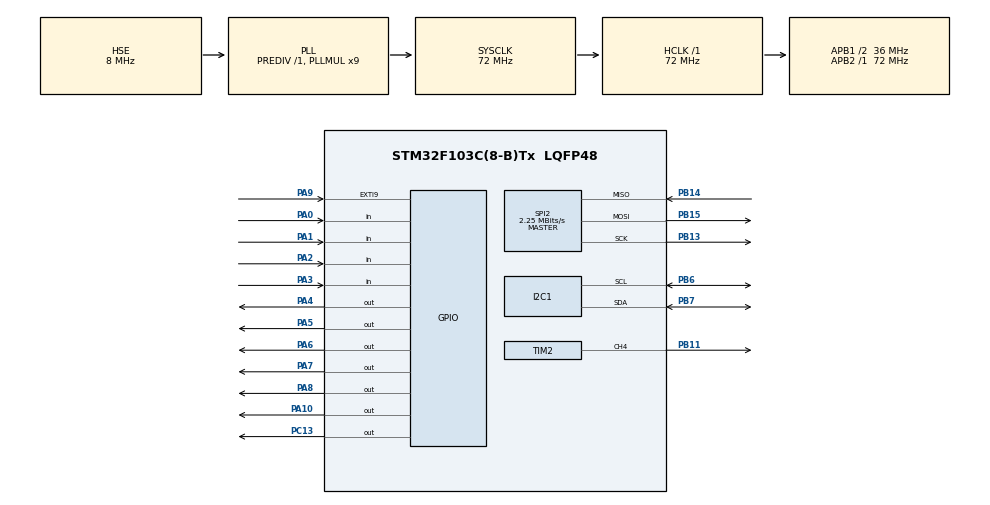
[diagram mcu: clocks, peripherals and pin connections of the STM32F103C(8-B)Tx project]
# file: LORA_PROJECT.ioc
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Dma.I2C1_TX.0.Direction=DMA_MEMORY_TO_PERIPH
Dma.I2C1_TX.0.Instance=DMA1_Channel6
Dma.I2C1_TX.0.MemDataAlignment=DMA_MDATAALIGN_BYTE
Dma.I2C1_TX.0.MemInc=DMA_MINC_ENABLE
Dma.I2C1_TX.0.Mode=DMA_NORMAL
Dma.I2C1_TX.0.PeriphDataAlignment=DMA_PDATAALIGN_BYTE
Dma.I2C1_TX.0.PeriphInc=DMA_PINC_DISABLE
Dma.I2C1_TX.0.Priority=DMA_PRIORITY_LOW
Dma.Request0=I2C1_TX
I2C1.I2C_Mode=I2C_Fast
Mcu.Family=STM32F1
Mcu.Name=STM32F103C(8-B)Tx
Mcu.Package=LQFP48
NVIC.DMA1_Channel6_IRQn=true\:0\:0\:false\:false\:true\:false\:true\:true
NVIC.I2C1_ER_IRQn=true\:0\:0\:false\:false\:true\:true\:true\:true
NVIC.I2C1_EV_IRQn=true\:0\:0\:false\:false\:true\:true\:true\:true
NVIC.PriorityGroup=NVIC_PRIORITYGROUP_4
PA0-WKUP.GPIO_PuPd=GPIO_PULLUP
PA0-WKUP.Signal=GPIO_Input
PA1.GPIO_PuPd=GPIO_PULLUP
PA1.Signal=GPIO_Input
PA10.PinState=GPIO_PIN_SET
PA10.Signal=GPIO_Output
PA2.GPIO_PuPd=GPIO_PULLUP
PA2.Signal=GPIO_Input
PA3.GPIO_PuPd=GPIO_PULLUP
PA3.Signal=GPIO_Input
PA4.Signal=GPIO_Output
PA5.Signal=GPIO_Output
PA6.Signal=GPIO_Output
PA7.Signal=GPIO_Output
PA8.GPIO_PuPd=GPIO_PULLUP
PA8.PinState=GPIO_PIN_SET
PA8.Signal=GPIO_Output
PA9.Signal=GPXTI9
PB11.Signal=S_TIM2_CH4
PB13.Mode=Full_Duplex_Master
PB13.Signal=SPI2_SCK
PB14.Mode=Full_Duplex_Master
PB14.Signal=SPI2_MISO
PB15.Mode=Full_Duplex_Master
PB15.Signal=SPI2_MOSI
PB6.Mode=I2C
PB6.Signal=I2C1_SCL
PB7.Mode=I2C
PB7.Signal=I2C1_SDA
PC13-TAMPER-RTC.Signal=GPIO_Output
PD0-OSC_IN.Mode=HSE-External-Oscillator
PD0-OSC_IN.Signal=RCC_OSC_IN
PD1-OSC_OUT.Mode=HSE-External-Oscillator
PD1-OSC_OUT.Signal=RCC_OSC_OUT
ProjectManager.HeapSize=0x200
ProjectManager.StackSize=0x400
ProjectManager.TargetToolchain=STM32CubeIDE
RCC.AHBFreq_Value=72000000
RCC.APB1CLKDivider=RCC_HCLK_DIV2
RCC.APB1Freq_Value=36000000
RCC.APB1TimFreq_Value=72000000
RCC.APB2Freq_Value=72000000
RCC.APB2TimFreq_Value=72000000
RCC.HCLKFreq_Value=72000000
RCC.PLLMUL=RCC_PLL_MUL9
RCC.PLLSourceVirtual=RCC_PLLSOURCE_HSE
RCC.SYSCLKFreq_VALUE=72000000
RCC.SYSCLKSource=RCC_SYSCLKSOURCE_PLLCLK
RCC.USBFreq_Value=72000000
SH.S_TIM2_CH4.0=TIM2_CH4,PWM Generation4 CH4
SPI2.BaudRatePrescaler=SPI_BAUDRATEPRESCALER_16
SPI2.CalculateBaudRate=2.25 MBits/s
SPI2.Direction=SPI_DIRECTION_2LINES
SPI2.Mode=SPI_MODE_MASTER
SPI2.VirtualType=VM_MASTER
TIM2.Channel-PWM\ Generation4\ CH4=TIM_CHANNEL_4
TIM2.Period=499
TIM2.Prescaler=71
TIM2.Pulse-PWM\ Generation4\ CH4=250
VP_SYS_VS_ND.Mode=No_Debug
VP_TIM2_VS_ClockSourceINT.Mode=Internal
board=custom

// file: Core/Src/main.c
/* USER CODE BEGIN Header */
/**
  ******************************************************************************
  * @file           : main.c
  * @brief          : Main program body
  ******************************************************************************
  * @attention
  *
  * Copyright (c) 2026 STMicroelectronics.
  * All rights reserved.
  *
  * This software is licensed under terms that can be found in the LICENSE file
  * in the root directory of this software component.
  * If no LICENSE file comes with this software, it is provided AS-IS.
  *
  ******************************************************************************
  */
/* USER CODE END Header */
#include "main.h"

/* USER CODE BEGIN Includes */
#include "SSD1306.h"
#include "fonts.h"
#include "KEYPAD.h"
#include "SX1276.h"
#include "app.h"
#include <stdio.h>
#include <string.h>
/* USER CODE END Includes */

I2C_HandleTypeDef hi2c1;
DMA_HandleTypeDef hdma_i2c1_tx;

SPI_HandleTypeDef hspi2;

TIM_HandleTypeDef htim2;

void SystemClock_Config(void);
static void MX_GPIO_Init(void);
static void MX_DMA_Init(void);
static void MX_I2C1_Init(void);
static void MX_SPI2_Init(void);
static void MX_TIM2_Init(void);

/* USER CODE BEGIN 0 */
void Buzzer_On(void)
{
    __HAL_TIM_SET_COMPARE(&htim2, TIM_CHANNEL_4, 250); // 50% duty
}

void Buzzer_Off(void)
{
    __HAL_TIM_SET_COMPARE(&htim2, TIM_CHANNEL_4, 0); // off
}
/* USER CODE END 0 */

int main(void)
{

  /* MCU Configuration--------------------------------------------------------*/

  /* Reset of all peripherals, Initializes the Flash interface and the Systick. */
  HAL_Init();

  /* USER CODE BEGIN Init */
  //전원 안정화 여유시간
  HAL_Delay(100);
  /* USER CODE END Init */

  /* Configure the system clock */
  SystemClock_Config();

  /* Initialize all configured peripherals */
  MX_GPIO_Init();
  MX_DMA_Init();
  MX_I2C1_Init();
  MX_SPI2_Init();
  MX_TIM2_Init();
  /* USER CODE BEGIN 2 */
  ssd1306_Init();
  ssd1306_Clear();

  KEYPAD_Init();

  APP_Init();
  //PWM 시작
  HAL_TIM_PWM_Start(&htim2, TIM_CHANNEL_4);
  //PWM 바로 꺼주기
  __HAL_TIM_SET_COMPARE(&htim2, TIM_CHANNEL_4, 0);
  /* USER CODE END 2 */

  /* Infinite loop */
  while (1)
  {

    /* USER CODE BEGIN 3 */
	    APP_Run();
  }
  /* USER CODE END 3 */
}

void SystemClock_Config(void)
{
  RCC_OscInitTypeDef RCC_OscInitStruct = {0};
  RCC_ClkInitTypeDef RCC_ClkInitStruct = {0};

  /** Initializes the RCC Oscillators according to the specified parameters
  * in the RCC_OscInitTypeDef structure.
  */
  RCC_OscInitStruct.OscillatorType = RCC_OSCILLATORTYPE_HSE;
  RCC_OscInitStruct.HSEState = RCC_HSE_ON;
  RCC_OscInitStruct.HSEPredivValue = RCC_HSE_PREDIV_DIV1;
  RCC_OscInitStruct.HSIState = RCC_HSI_ON;
  RCC_OscInitStruct.PLL.PLLState = RCC_PLL_ON;
  RCC_OscInitStruct.PLL.PLLSource = RCC_PLLSOURCE_HSE;
  RCC_OscInitStruct.PLL.PLLMUL = RCC_PLL_MUL9;
  if (HAL_RCC_OscConfig(&RCC_OscInitStruct) != HAL_OK)
  {
    Error_Handler();
  }

  /** Initializes the CPU, AHB and APB buses clocks
  */
  RCC_ClkInitStruct.ClockType = RCC_CLOCKTYPE_HCLK|RCC_CLOCKTYPE_SYSCLK
                              |RCC_CLOCKTYPE_PCLK1|RCC_CLOCKTYPE_PCLK2;
  RCC_ClkInitStruct.SYSCLKSource = RCC_SYSCLKSOURCE_PLLCLK;
  RCC_ClkInitStruct.AHBCLKDivider = RCC_SYSCLK_DIV1;
  RCC_ClkInitStruct.APB1CLKDivider = RCC_HCLK_DIV2;
  RCC_ClkInitStruct.APB2CLKDivider = RCC_HCLK_DIV1;

  if (HAL_RCC_ClockConfig(&RCC_ClkInitStruct, FLASH_LATENCY_2) != HAL_OK)
  {
    Error_Handler();
  }
}

static void MX_I2C1_Init(void)
{

  hi2c1.Instance = I2C1;
  hi2c1.Init.ClockSpeed = 400000;
  hi2c1.Init.DutyCycle = I2C_DUTYCYCLE_2;
  hi2c1.Init.OwnAddress1 = 0;
  hi2c1.Init.AddressingMode = I2C_ADDRESSINGMODE_7BIT;
  hi2c1.Init.DualAddressMode = I2C_DUALADDRESS_DISABLE;
  hi2c1.Init.OwnAddress2 = 0;
  hi2c1.Init.GeneralCallMode = I2C_GENERALCALL_DISABLE;
  hi2c1.Init.NoStretchMode = I2C_NOSTRETCH_DISABLE;
  if (HAL_I2C_Init(&hi2c1) != HAL_OK)
  {
    Error_Handler();
  }

}

static void MX_SPI2_Init(void)
{

  /* SPI2 parameter configuration*/
  hspi2.Instance = SPI2;
  hspi2.Init.Mode = SPI_MODE_MASTER;
  hspi2.Init.Direction = SPI_DIRECTION_2LINES;
  hspi2.Init.DataSize = SPI_DATASIZE_8BIT;
  hspi2.Init.CLKPolarity = SPI_POLARITY_LOW;
  hspi2.Init.CLKPhase = SPI_PHASE_1EDGE;
  hspi2.Init.NSS = SPI_NSS_SOFT;
  hspi2.Init.BaudRatePrescaler = SPI_BAUDRATEPRESCALER_16;
  hspi2.Init.FirstBit = SPI_FIRSTBIT_MSB;
  hspi2.Init.TIMode = SPI_TIMODE_DISABLE;
  hspi2.Init.CRCCalculation = SPI_CRCCALCULATION_DISABLE;
  hspi2.Init.CRCPolynomial = 10;
  if (HAL_SPI_Init(&hspi2) != HAL_OK)
  {
    Error_Handler();
  }

}

static void MX_TIM2_Init(void)
{

  TIM_ClockConfigTypeDef sClockSourceConfig = {0};
  TIM_MasterConfigTypeDef sMasterConfig = {0};
  TIM_OC_InitTypeDef sConfigOC = {0};

  htim2.Instance = TIM2;
  htim2.Init.Prescaler = 71;
  htim2.Init.CounterMode = TIM_COUNTERMODE_UP;
  htim2.Init.Period = 499;
  htim2.Init.ClockDivision = TIM_CLOCKDIVISION_DIV1;
  htim2.Init.AutoReloadPreload = TIM_AUTORELOAD_PRELOAD_DISABLE;
  if (HAL_TIM_Base_Init(&htim2) != HAL_OK)
  {
    Error_Handler();
  }
  sClockSourceConfig.ClockSource = TIM_CLOCKSOURCE_INTERNAL;
  if (HAL_TIM_ConfigClockSource(&htim2, &sClockSourceConfig) != HAL_OK)
  {
    Error_Handler();
  }
  if (HAL_TIM_PWM_Init(&htim2) != HAL_OK)
  {
    Error_Handler();
  }
  sMasterConfig.MasterOutputTrigger = TIM_TRGO_RESET;
  sMasterConfig.MasterSlaveMode = TIM_MASTERSLAVEMODE_DISABLE;
  if (HAL_TIMEx_MasterConfigSynchronization(&htim2, &sMasterConfig) != HAL_OK)
  {
    Error_Handler();
  }
  sConfigOC.OCMode = TIM_OCMODE_PWM1;
  sConfigOC.Pulse = 250;
  sConfigOC.OCPolarity = TIM_OCPOLARITY_HIGH;
  sConfigOC.OCFastMode = TIM_OCFAST_DISABLE;
  if (HAL_TIM_PWM_ConfigChannel(&htim2, &sConfigOC, TIM_CHANNEL_4) != HAL_OK)
  {
    Error_Handler();
  }
  HAL_TIM_MspPostInit(&htim2);

}

static void MX_DMA_Init(void)
{

  /* DMA controller clock enable */
  __HAL_RCC_DMA1_CLK_ENABLE();

  /* DMA interrupt init */
  /* DMA1_Channel6_IRQn interrupt configuration */
  HAL_NVIC_SetPriority(DMA1_Channel6_IRQn, 0, 0);
  HAL_NVIC_EnableIRQ(DMA1_Channel6_IRQn);

}

static void MX_GPIO_Init(void)
{
  GPIO_InitTypeDef GPIO_InitStruct = {0};

  /* GPIO Ports Clock Enable */
  __HAL_RCC_GPIOC_CLK_ENABLE();
  __HAL_RCC_GPIOD_CLK_ENABLE();
  __HAL_RCC_GPIOA_CLK_ENABLE();
  __HAL_RCC_GPIOB_CLK_ENABLE();

  /*Configure GPIO pin Output Level */
  HAL_GPIO_WritePin(GPIOC, GPIO_PIN_13, GPIO_PIN_RESET);

  /*Configure GPIO pin Output Level */
  HAL_GPIO_WritePin(GPIOA, GPIO_PIN_4|GPIO_PIN_5|GPIO_PIN_6|GPIO_PIN_7, GPIO_PIN_RESET);

  /*Configure GPIO pin Output Level */
  HAL_GPIO_WritePin(GPIOA, GPIO_PIN_8|GPIO_PIN_10, GPIO_PIN_SET);

  /*Configure GPIO pin : PC13 */
  GPIO_InitStruct.Pin = GPIO_PIN_13;
  GPIO_InitStruct.Mode = GPIO_MODE_OUTPUT_PP;
  GPIO_InitStruct.Pull = GPIO_NOPULL;
  GPIO_InitStruct.Speed = GPIO_SPEED_FREQ_LOW;
  HAL_GPIO_Init(GPIOC, &GPIO_InitStruct);

  /*Configure GPIO pins : PA0 PA1 PA2 PA3 */
  GPIO_InitStruct.Pin = GPIO_PIN_0|GPIO_PIN_1|GPIO_PIN_2|GPIO_PIN_3;
  GPIO_InitStruct.Mode = GPIO_MODE_INPUT;
  GPIO_InitStruct.Pull = GPIO_PULLUP;
  HAL_GPIO_Init(GPIOA, &GPIO_InitStruct);

  /*Configure GPIO pins : PA4 PA5 PA6 PA7
                           PA10 */
  GPIO_InitStruct.Pin = GPIO_PIN_4|GPIO_PIN_5|GPIO_PIN_6|GPIO_PIN_7
                          |GPIO_PIN_10;
  GPIO_InitStruct.Mode = GPIO_MODE_OUTPUT_PP;
  GPIO_InitStruct.Pull = GPIO_NOPULL;
  GPIO_InitStruct.Speed = GPIO_SPEED_FREQ_LOW;
  HAL_GPIO_Init(GPIOA, &GPIO_InitStruct);

  /*Configure GPIO pin : PA8 */
  GPIO_InitStruct.Pin = GPIO_PIN_8;
  GPIO_InitStruct.Mode = GPIO_MODE_OUTPUT_PP;
  GPIO_InitStruct.Pull = GPIO_PULLUP;
  GPIO_InitStruct.Speed = GPIO_SPEED_FREQ_LOW;
  HAL_GPIO_Init(GPIOA, &GPIO_InitStruct);

  /*Configure GPIO pin : PA9 */
  GPIO_InitStruct.Pin = GPIO_PIN_9;
  GPIO_InitStruct.Mode = GPIO_MODE_IT_RISING;
  GPIO_InitStruct.Pull = GPIO_NOPULL;
  HAL_GPIO_Init(GPIOA, &GPIO_InitStruct);

}

void Error_Handler(void)
{
  __disable_irq();
  while (1)
  {
  }
}
